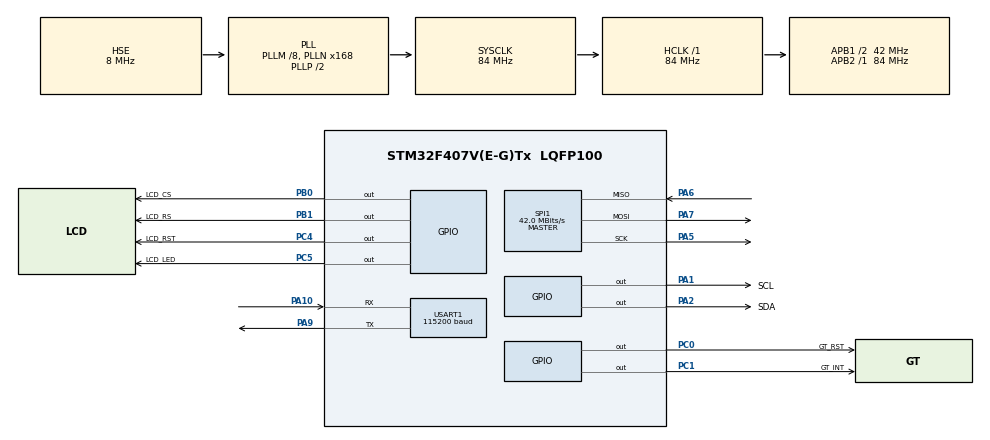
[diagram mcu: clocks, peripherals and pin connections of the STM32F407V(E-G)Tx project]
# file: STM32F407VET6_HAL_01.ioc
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Dma.Request0=SPI1_TX
Dma.SPI1_TX.0.Direction=DMA_MEMORY_TO_PERIPH
Dma.SPI1_TX.0.FIFOMode=DMA_FIFOMODE_DISABLE
Dma.SPI1_TX.0.Instance=DMA2_Stream3
Dma.SPI1_TX.0.MemDataAlignment=DMA_MDATAALIGN_HALFWORD
Dma.SPI1_TX.0.MemInc=DMA_MINC_ENABLE
Dma.SPI1_TX.0.Mode=DMA_NORMAL
Dma.SPI1_TX.0.PeriphDataAlignment=DMA_PDATAALIGN_HALFWORD
Dma.SPI1_TX.0.PeriphInc=DMA_PINC_DISABLE
Dma.SPI1_TX.0.Priority=DMA_PRIORITY_LOW
Mcu.Family=STM32F4
Mcu.Name=STM32F407V(E-G)Tx
Mcu.Package=LQFP100
NVIC.DMA2_Stream3_IRQn=true\:0\:0\:false\:false\:true\:false\:true\:true
NVIC.PriorityGroup=NVIC_PRIORITYGROUP_4
NVIC.TIM7_IRQn=true\:4\:0\:true\:false\:true\:true\:true\:true
PA1.GPIO_Label=SCL
PA1.GPIO_ModeDefaultOutputPP=GPIO_MODE_OUTPUT_OD
PA1.GPIO_PuPd=GPIO_PULLUP
PA1.GPIO_Speed=GPIO_SPEED_FREQ_HIGH
PA1.PinState=GPIO_PIN_SET
PA1.Signal=GPIO_Output
PA10.Mode=Asynchronous
PA10.Signal=USART1_RX
PA2.GPIO_Label=SDA
PA2.GPIO_ModeDefaultOutputPP=GPIO_MODE_OUTPUT_OD
PA2.GPIO_PuPd=GPIO_PULLUP
PA2.GPIO_Speed=GPIO_SPEED_FREQ_HIGH
PA2.PinState=GPIO_PIN_SET
PA2.Signal=GPIO_Output
PA5.Mode=Full_Duplex_Master
PA5.Signal=SPI1_SCK
PA6.Mode=Full_Duplex_Master
PA6.Signal=SPI1_MISO
PA7.Mode=Full_Duplex_Master
PA7.Signal=SPI1_MOSI
PA9.Mode=Asynchronous
PA9.Signal=USART1_TX
PB0.GPIO_Label=LCD_CS
PB0.GPIO_Speed=GPIO_SPEED_FREQ_HIGH
PB0.PinState=GPIO_PIN_SET
PB0.Signal=GPIO_Output
PB1.GPIO_Label=LCD_RS
PB1.GPIO_Speed=GPIO_SPEED_FREQ_HIGH
PB1.PinState=GPIO_PIN_SET
PB1.Signal=GPIO_Output
PC0.GPIO_Label=GT_RST
PC0.GPIO_Speed=GPIO_SPEED_FREQ_HIGH
PC0.PinState=GPIO_PIN_SET
PC0.Signal=GPIO_Output
PC1.GPIO_Label=GT_INT
PC1.GPIO_ModeDefaultOutputPP=GPIO_MODE_OUTPUT_PP
PC1.GPIO_PuPd=GPIO_NOPULL
PC1.GPIO_Speed=GPIO_SPEED_FREQ_HIGH
PC1.PinState=GPIO_PIN_SET
PC1.Signal=GPIO_Output
PC4.GPIO_Label=LCD_RST
PC4.GPIO_Speed=GPIO_SPEED_FREQ_HIGH
PC4.PinState=GPIO_PIN_SET
PC4.Signal=GPIO_Output
PC5.GPIO_Label=LCD_LED
PC5.GPIO_Speed=GPIO_SPEED_FREQ_HIGH
PC5.PinState=GPIO_PIN_SET
PC5.Signal=GPIO_Output
PH0-OSC_IN.Mode=HSE-External-Oscillator
PH0-OSC_IN.Signal=RCC_OSC_IN
PH1-OSC_OUT.Mode=HSE-External-Oscillator
PH1-OSC_OUT.Signal=RCC_OSC_OUT
ProjectManager.HeapSize=0x200
ProjectManager.StackSize=0x400
ProjectManager.TargetToolchain=MDK-ARM V5.32
RCC.48MHZClocksFreq_Value=42000000
RCC.AHBFreq_Value=84000000
RCC.APB1CLKDivider=RCC_HCLK_DIV2
RCC.APB1Freq_Value=42000000
RCC.APB1TimFreq_Value=84000000
RCC.APB2Freq_Value=84000000
RCC.APB2TimFreq_Value=84000000
RCC.CortexFreq_Value=84000000
RCC.HCLKFreq_Value=84000000
RCC.HSE_VALUE=8000000
RCC.HSI_VALUE=16000000
RCC.LSE_VALUE=32768
RCC.PLLM=8
RCC.PLLN=168
RCC.PLLSourceVirtual=RCC_PLLSOURCE_HSE
RCC.RCC_RTC_Clock_Source=RCC_RTCCLKSOURCE_LSE
RCC.RCC_RTC_Clock_SourceVirtual=RCC_RTCCLKSOURCE_LSE
RCC.SYSCLKFreq_VALUE=84000000
RCC.SYSCLKSource=RCC_SYSCLKSOURCE_PLLCLK
RCC.VCOOutputFreq_Value=168000000
SPI1.BaudRatePrescaler=SPI_BAUDRATEPRESCALER_2
SPI1.CLKPhase=SPI_PHASE_2EDGE
SPI1.CLKPolarity=SPI_POLARITY_HIGH
SPI1.CalculateBaudRate=42.0 MBits/s
SPI1.Direction=SPI_DIRECTION_2LINES
SPI1.Mode=SPI_MODE_MASTER
SPI1.VirtualType=VM_MASTER
TIM6.Prescaler=72-1
TIM7.AutoReloadPreload=TIM_AUTORELOAD_PRELOAD_ENABLE
TIM7.Period=1000-1
TIM7.Prescaler=72-1
USART1.BaudRate=115200
USART1.VirtualMode=VM_ASYNC
VP_TIM6_VS_ClockSourceINT.Mode=Enable_Timer
VP_TIM7_VS_ClockSourceINT.Mode=Enable_Timer
board=custom

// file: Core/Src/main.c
/* USER CODE BEGIN Header */
/**
  ******************************************************************************
  * @file           : main.c
  * @brief          : Main program body
  ******************************************************************************
  * @attention
  *
  * Copyright (c) 2025 STMicroelectronics.
  * All rights reserved.
  *
  * This software is licensed under terms that can be found in the LICENSE file
  * in the root directory of this software component.
  * If no LICENSE file comes with this software, it is provided AS-IS.
  *
  ******************************************************************************
  */
/* USER CODE END Header */
#include "main.h"
#include "dma.h"
#include "spi.h"
#include "tim.h"
#include "usart.h"
#include "gpio.h"

/* USER CODE BEGIN Includes */
#include <stdio.h>
#include "lvgl.h"
#include "lv_port_disp_template.h"
#include "lv_port_indev_template.h"
#include "Game_2048.h"
#include "home.h"
/* USER CODE END Includes */

void SystemClock_Config(void);

int main(void)
{

  /* MCU Configuration--------------------------------------------------------*/

  /* Reset of all peripherals, Initializes the Flash interface and the Systick. */
  HAL_Init();

  /* Configure the system clock */
  SystemClock_Config();

  /* Initialize all configured peripherals */
  MX_GPIO_Init();
  MX_DMA_Init();
  MX_USART1_UART_Init();
  MX_TIM6_Init();
  MX_SPI1_Init();
  MX_TIM7_Init();
  /* USER CODE BEGIN 2 */
  __HAL_SPI_ENABLE(&hspi1);
	HAL_TIM_Base_Start_IT(&htim7);
	printf("lv_init_start\n");
	lv_init();
	lv_port_disp_init();
	lv_port_indev_init();

	ui_init();
  /* USER CODE END 2 */

  /* Infinite loop */
  while (1)
  {

    /* USER CODE BEGIN 3 */
	lv_timer_handler();
	HAL_Delay(5);
  }
  /* USER CODE END 3 */
}

void SystemClock_Config(void)
{
  RCC_OscInitTypeDef RCC_OscInitStruct = {0};
  RCC_ClkInitTypeDef RCC_ClkInitStruct = {0};

  /** Configure the main internal regulator output voltage
  */
  __HAL_RCC_PWR_CLK_ENABLE();
  __HAL_PWR_VOLTAGESCALING_CONFIG(PWR_REGULATOR_VOLTAGE_SCALE1);

  /** Initializes the RCC Oscillators according to the specified parameters
  * in the RCC_OscInitTypeDef structure.
  */
  RCC_OscInitStruct.OscillatorType = RCC_OSCILLATORTYPE_HSE;
  RCC_OscInitStruct.HSEState = RCC_HSE_ON;
  RCC_OscInitStruct.PLL.PLLState = RCC_PLL_ON;
  RCC_OscInitStruct.PLL.PLLSource = RCC_PLLSOURCE_HSE;
  RCC_OscInitStruct.PLL.PLLM = 8;
  RCC_OscInitStruct.PLL.PLLN = 168;
  RCC_OscInitStruct.PLL.PLLP = RCC_PLLP_DIV2;
  RCC_OscInitStruct.PLL.PLLQ = 4;
  if (HAL_RCC_OscConfig(&RCC_OscInitStruct) != HAL_OK)
  {
    Error_Handler();
  }

  /** Initializes the CPU, AHB and APB buses clocks
  */
  RCC_ClkInitStruct.ClockType = RCC_CLOCKTYPE_HCLK|RCC_CLOCKTYPE_SYSCLK
                              |RCC_CLOCKTYPE_PCLK1|RCC_CLOCKTYPE_PCLK2;
  RCC_ClkInitStruct.SYSCLKSource = RCC_SYSCLKSOURCE_PLLCLK;
  RCC_ClkInitStruct.AHBCLKDivider = RCC_SYSCLK_DIV1;
  RCC_ClkInitStruct.APB1CLKDivider = RCC_HCLK_DIV2;
  RCC_ClkInitStruct.APB2CLKDivider = RCC_HCLK_DIV1;

  if (HAL_RCC_ClockConfig(&RCC_ClkInitStruct, FLASH_LATENCY_2) != HAL_OK)
  {
    Error_Handler();
  }
}

/* USER CODE BEGIN 4 */
int fputc(int ch, FILE *f) {
    HAL_UART_Transmit(&huart1, (uint8_t *)&ch, 1, HAL_MAX_DELAY);
    return ch;
}
/* USER CODE END 4 */

void Error_Handler(void)
{
  __disable_irq();
  while (1)
  {
  }
}
